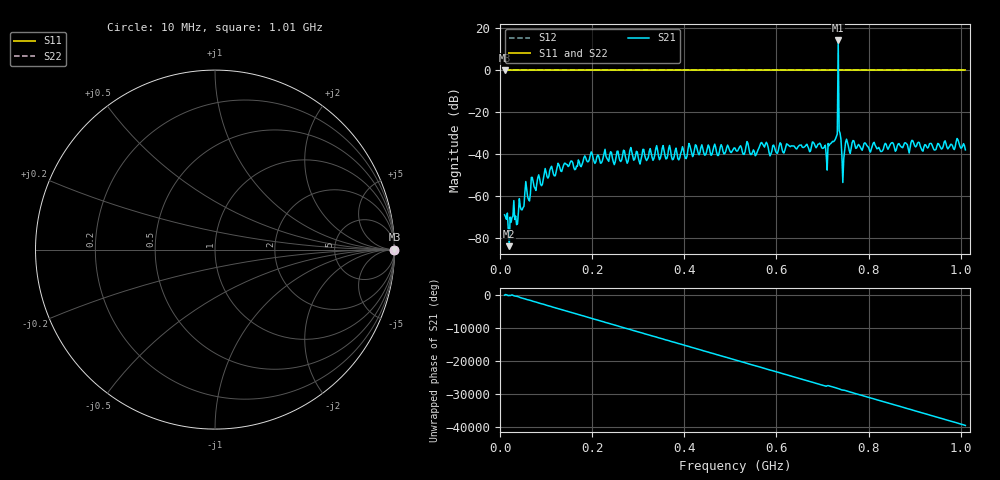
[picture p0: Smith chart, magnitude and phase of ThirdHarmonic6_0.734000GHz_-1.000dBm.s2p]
! 8/16/2025 12:34:01 AM
! C:\ANRITSUVNA\TEMP\TEMP.S2P
! CHANNEL.1
! TR.MEASUREMENT
! RAW.DATA
! RF.CORRECTION.OFF
! AVERAGING.OFF
! IF.BANDWIDTH: 5KHZ
! SWEEPTYPE:  FREQ.SWEEP(Linear)
! Reference Plane Port Info
! PORT:  PORT1  PORT2
! DISTANCE:  0  m  0  m
! TIME:  0  s  0  s
! PHASE.OFFSET:  0  deg.  0  deg.
! LOSS:  0  dB  0  dB
! REF.LOSS:  0  dB  0  dB
! REF.FREQ:  0  Hz  0  Hz
! Power Info
! POWER:  -20  dBm  -20  dBm
! EFF.POWER:  -20  dBm  -20  dBm
! SOURCE.ATTEN:  0  dB  0  dB
! TEST.ATTEN:  0  dB  0  dB
# GHZ S RI R 50.0
! FREQ.GHZ  S11RE  S11IM  S21RE  S21IM  S12RE  S12IM  S22RE  S22IM
!; PortSelection: Port_12
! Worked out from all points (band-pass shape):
!   501 points, 10 MHz to 1.01 GHz, reference 50 ohm
!   highest |S21| = 14.16 dB at 734 MHz (marker M1); lowest = -84.1 dB at 20 MHz (marker M2)
!   |S21| within 3 dB of the highest: 733.8657 MHz to 734.1393 MHz (273.7 kHz wide, 0.0373 % of centre)
!   lowest |S11| = 0.0 dB at 10 MHz (marker M3)
!   |S11| at or under -10 dB: nowhere
!   |S22| runs from 0.0 to 0.0 dB; largest |S21 - S12| = 4.6
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0.01  1 0  -0.000236 -0.000257  1 0  1 0
0.02  1 0  -5.9e-05 2.05e-05  1 0  1 0
0.026  1 0  9.23e-05 -0.000287  1 0  1 0
0.036  1 0  -0.00013 -0.000157  1 0  1 0
0.072  1 0  -0.00174 0.00129  1 0  1 0
0.178  1 0  -0.00558 -6.5e-06  1 0  1 0
0.198  1 0  0.00242 0.0109  1 0  1 0
0.248  1 0  -0.00456 -0.00312  1 0  1 0
0.344  1 0  0.00328 -0.00824  1 0  1 0
0.51  1 0  -0.00233 0.0136  1 0  1 0
0.678  1 0  -0.0191 -0.00177  1 0  1 0
0.706  1 0  -0.0119 0.0108  1 0  1 0
0.728  1 0  0.0183 -0.0133  1 0  1 0
0.73  1 0  -0.0124 -0.0227  1 0  1 0
0.734  1 0  2.954 4.166  1 0  1 0
0.738  1 0  -0.0218 -0.0224  1 0  1 0
0.74  1 0  -0.0135 0.0173  1 0  1 0
0.744  1 0  0.00193 -0.000743  1 0  1 0
0.752  1 0  0.00986 0.0202  1 0  1 0
0.844  1 0  0.0118 -0.00794  1 0  1 0
0.994  1 0  0.0208 0.00559  1 0  1 0
1.01  1 0  0.00196 0.0123  1 0  1 0
